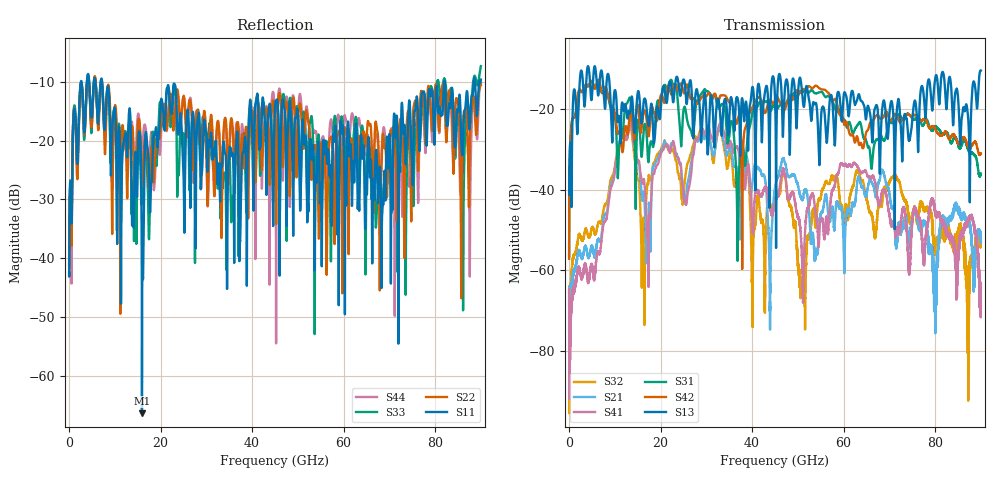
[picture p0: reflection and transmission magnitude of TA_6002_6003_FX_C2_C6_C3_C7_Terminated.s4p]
!Keysight Technologies,N5227B,US51270452,A.15.40.11
!Date: Tuesday, January 25, 2022 10:48:49
!Correction: S11(C  4-Port  )
!S12(C  4-Port  )
!S13(C  4-Port  )
!S14(C  4-Port  )
!S21(C  4-Port  )
!S22(C  4-Port  )
!S23(C  4-Port  )
!S24(C  4-Port  )
!S31(C  4-Port  )
!S32(C  4-Port  )
!S33(C  4-Port  )
!S34(C  4-Port  )
!S41(C  4-Port  )
!S42(C  4-Port  )
!S43(C  4-Port  )
!S44(C  4-Port  )
!S4P File: Measurements: <S11,S12,S13,S14>,
!<S21,S22,S23,S24>,
!<S31,S32,S33,S34>,
!<S41,S42,S43,S44>:
# Hz S  dB  R 50
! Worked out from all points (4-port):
!   9000 points, 10 MHz to 90 GHz, reference 50 ohm
!   strongest paths, dB at 10 MHz, 22.51 GHz, 45.01 GHz, 67.51 GHz, 90 GHz:
!     S13: -41.2, -16.0, -17.1, -20.9, -10.3
!     S42: -57.1, -15.9, -17.5, -21.5, -30.9
!     S31: -56.5, -13.2, -19.6, -27.5, -36.0
!     S41: -65.4, -28.9, -43.3, -43.0, -64.5
!     S21: -75.0, -28.8, -39.5, -38.8, -53.2
!     S32: -68.4, -30.4, -41.4, -44.9, -53.0
!   lowest |S11| = -66.4 dB at 15.93 GHz (marker M1), VSWR 1.00, Z = 50 + j0.032 ohm
!   |S11| at or under -10 dB: start of sweep to 2.578 GHz; 7.219 GHz to 81.98 GHz (74.76 GHz wide, 168 % of centre); 82.1 GHz to 88.44 GHz (6.336 GHz wide, 7.43 % of centre)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
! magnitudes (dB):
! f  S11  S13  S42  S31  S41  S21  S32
! 10 MHz  -42.4  -41.2  -57.1  -56.5  -65.4  -75.0  -68.4
! 11.61 GHz  -22.9  -18.2  -30.5  -26.9  -26.7  -26.8  -26.7
! 15.93 GHz  -66.4  -23.3  -23.8  -31.2  -38.0  -42.1  -60.2
! 32.95 GHz  -29.1  -20.2  -16.9  -19.5  -23.5  -24.1  -24.6
! 51.23 GHz  -18.6  -19.1  -14.9  -15.6  -61.7  -41.5  -61.9
! 62.45 GHz  -22.7  -18.7  -28.2  -24.9  -33.4  -43.3  -37.0
! 90 GHz  -9.6  -10.3  -30.9  -36.0  -64.5  -53.2  -53.0
